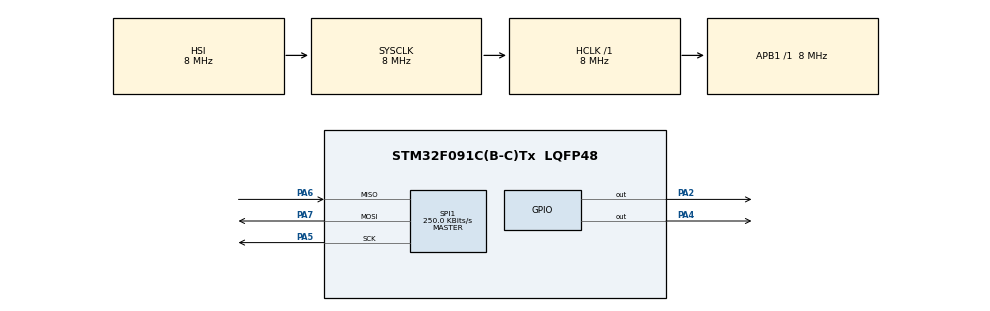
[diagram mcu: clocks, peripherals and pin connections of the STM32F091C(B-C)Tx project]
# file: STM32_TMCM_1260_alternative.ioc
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Mcu.Family=STM32F0
Mcu.Name=STM32F091C(B-C)Tx
Mcu.Package=LQFP48
PA2.Signal=GPIO_Output
PA4.Signal=GPIO_Output
PA5.Mode=Full_Duplex_Master
PA5.Signal=SPI1_SCK
PA6.Mode=Full_Duplex_Master
PA6.Signal=SPI1_MISO
PA7.Mode=Full_Duplex_Master
PA7.Signal=SPI1_MOSI
ProjectManager.HeapSize=0x200
ProjectManager.StackSize=0x400
ProjectManager.TargetToolchain=STM32CubeIDE
RCC.AHBFreq_Value=8000000
RCC.APB1Freq_Value=8000000
RCC.APB1TimFreq_Value=8000000
RCC.HCLKFreq_Value=8000000
RCC.SYSCLKFreq_VALUE=8000000
SPI1.BaudRatePrescaler=SPI_BAUDRATEPRESCALER_32
SPI1.CLKPhase=SPI_PHASE_2EDGE
SPI1.CLKPolarity=SPI_POLARITY_HIGH
SPI1.CalculateBaudRate=250.0 KBits/s
SPI1.DataSize=SPI_DATASIZE_8BIT
SPI1.Direction=SPI_DIRECTION_2LINES
SPI1.Mode=SPI_MODE_MASTER
SPI1.VirtualType=VM_MASTER
board=custom

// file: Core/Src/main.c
/* USER CODE BEGIN Header */
/**
  ******************************************************************************
  * @file           : main.c
  * @brief          : Main program body
  ******************************************************************************
  * @attention
  *
  * Copyright (c) 2026 STMicroelectronics.
  * All rights reserved.
  *
  * This software is licensed under terms that can be found in the LICENSE file
  * in the root directory of this software component.
  * If no LICENSE file comes with this software, it is provided AS-IS.
  *
  ******************************************************************************
  */
/* USER CODE END Header */
#include "main.h"

/* USER CODE BEGIN PD */

// Chip Select pin
#define TMC5160_CS_GPIO_Port GPIOA
#define TMC5160_CS_Pin GPIO_PIN_4
#define DRV_ENN_GPIO_Port GPIOA
#define DRV_ENN_Pin GPIO_PIN_2

#define IHOLD_IRUN_VALUE 0x61005
// IHOLD bits 4...0 (5 = 0101 -> 0x05); IRUN bits 12...8 (16 = 0001 0000; 0x10 << 8 -> 0x1000); IHOLDDELAY bits 19...16 (6 = 0110; 0x06 << 16 -> 0x60000);
// total set bits in 0x10 register: 0x05 + 0x1000 + 0x60000 = 0x61005 = 0110 0001 0000 0000 0101;
// so hex packed of 19 bits are set from LSB side for IHOLD_IRUN (0x10) register;
// with IRUN bits 16 current should be around 2.322 amps w 0.075 sense resistor

// TMC5160 register addresses
#define GCONF       0x00
#define IHOLD_IRUN  0x10
#define RAMPMODE	0x20
#define CHOPCONF    0x6C
#define VSTART      0x23
#define Amax        0x26
#define Dmax        0x28
#define VMAX        0x27
#define XTARGET     0x2D
#define GSTAT		0x01

// just to be sure the default settings are set
#define D1			0x2A
#define VSTOP		0x2B

// TMC5160 register addresses not used now, but could be useful in future
#define X_COMPARE      0x05
#define DRV_CONF       0x0A // 21..20 FILT_ISENSE: Increase setting if motor chopper noise occurs due to cross-coupling of both coils

// Example values for 0X6C: CHOPCONF – CHOPPER CONFIGURATION
#define CHOPCONF_TOFF    3   // off time
#define CHOPCONF_HSTRT   4   // hysteresis start
#define CHOPCONF_HEND    1   // hysteresis end
#define CHOPCONF_TBL     2   // blank time
#define CHOPCONF_MRES    0b0000   // full step (MRES = 0b1000); 0b0000 - 256 microstepping;
// XTARGET = 2000 → exactly 10 full steps × 200 steps/rev; if full step than one rotation is 200 sets x 10 revolutions = 2000 steps;
// 5 rev x 256 microsteps x 200 steps/rev = 256,000
// Lower microsteps (like 4 μsteps) are only useful if you want very small steps in SPI mode, but you must scale XTARGET, VMAX, Amax accordingly.
// Pick MRES = 0b0000 (native 256 μsteps) for smoothest motion
// Or pick 0b1000 = full step if you want exactly 1 step per “full step” in XTARGET units

#define CHOPCONF_INTPOL  0   // interpolation disabled

// Compose CHOPCONF
// This creates one 32-bit number that matches the bit positions defined in the TMC5160 datasheet.
// You have ONE 32-bit value
#define CHOPCONF_VALUE  ( ((CHOPCONF_TOFF  & 0xF) << 0)  \
                        | ((CHOPCONF_HSTRT & 0x7) << 4)  \
                        | ((CHOPCONF_HEND  & 0xF) << 7)  \
                        | ((CHOPCONF_TBL   & 0x3) << 15) \
                        | ((CHOPCONF_MRES  & 0xF) << 24) \
                        | ((CHOPCONF_INTPOL & 0x1) << 28) )

// \ - it tells preprocessor that this macro definition continues on the next line;
// is actually one single expression when the compiler sees it;
// | = bitwise OR; Combines bits from multiple values into a single 32-bit number
// & mask → limit field to allowed bits
// << shift → move the field to its correct bit position

// (CHOPCONF_TOFF & 0xF) << 0 → 0b00000011
// (CHOPCONF_HSTRT & 0x7) << 4 → 0b0100000  (4 << 4 = 64)
// Bitwise OR:
// 0b00000011 | 0b0100000 → 0b0100011 // Combines bits into their proper positions in the 32-bit register value

// Masking with &:
// CHOPCONF_TOFF & 0xF; Ensures only the lowest 4 bits of TOFF are used; Prevents accidental overflow if someone sets TOFF = 20 (0b10100) → keeps it at 0b0100
// for examle CHOPCONF_INTPOL is 1 bit value in that register bit 28, so you mask only 1 bit in that 4 it hex number 0x? (4 bits)
// If a field is 5 bits wide, the mask would be 0x1F in hexadecimal.
// if width would be 5 bits? with 0b10010 value: Valid values: 0 … 0b11111 (decimal 0 … 31), Your value: 0b10010 = decimal 18; fits in 5 bits;
// Mask = 5 ones in binary = 0b11111 = 0x1F; To safely keep only the lowest 5 bits: masked_value = value & 0x1F;
// Masking ensures only allowed bits go into the register, even if user accidentally sets a larger value.

// How the full CHOPCONF_VALUE is built
// 1. Take each field (TOFF, HSTRT, HEND, TBL, MRES, INTPOL); 2. Mask it to the correct number of bits (& 0xF, & 0x7, & 0x3, etc.);
// 3. Shift it into its bit position in the 32-bit CHOPCONF register (<< 0, << 4, << 7, …); 4. Combine all fields using bitwise OR (|) → single 32-bit value

/* USER CODE END PD */

/* USER CODE BEGIN PM */

// Disable driver (let external pull-up do the work), so there is no 5V -> 3V3 feeding
static inline void TMC5160_Disable(void) {
	// Make PA2 input, high-Z
	    GPIO_InitTypeDef GPIO_InitStruct = {0};
	    GPIO_InitStruct.Pin = DRV_ENN_Pin;
	    GPIO_InitStruct.Mode = GPIO_MODE_INPUT;
	    GPIO_InitStruct.Pull = GPIO_NOPULL; // let external pull-up pull it high
	    HAL_GPIO_Init(DRV_ENN_GPIO_Port, &GPIO_InitStruct);
}

// Enable driver (active low)
static inline void TMC5160_Enable(void) {
	// you have to init again as output because in disable function it was made as high z input pin
    GPIO_InitTypeDef GPIO_InitStruct = {0};
    GPIO_InitStruct.Pin = DRV_ENN_Pin;
    GPIO_InitStruct.Mode = GPIO_MODE_OUTPUT_PP;
    GPIO_InitStruct.Pull = GPIO_NOPULL;
    GPIO_InitStruct.Speed = GPIO_SPEED_FREQ_LOW;
    HAL_GPIO_Init(DRV_ENN_GPIO_Port, &GPIO_InitStruct);

    HAL_GPIO_WritePin(DRV_ENN_GPIO_Port, DRV_ENN_Pin, GPIO_PIN_RESET);
    // Keep as output low
}

/* USER CODE END PM */

SPI_HandleTypeDef hspi1;

void SystemClock_Config(void);
static void MX_GPIO_Init(void);
static void MX_SPI1_Init(void);
/* USER CODE BEGIN PFP */

static inline void TMC5160_CS_LOW(void) {
    HAL_GPIO_WritePin(TMC5160_CS_GPIO_Port, TMC5160_CS_Pin, GPIO_PIN_RESET);
}
static inline void TMC5160_CS_HIGH(void) {
    HAL_GPIO_WritePin(TMC5160_CS_GPIO_Port, TMC5160_CS_Pin, GPIO_PIN_SET);
}

void TMC5160_WriteReg(uint8_t address, uint32_t value) {
    uint8_t tx[5];

    // This is NOT re-positioning register fields. This is simply breaking a 32-bit integer into 4 bytes so SPI can send them. SPI sends 8 bits at a time.
    // Your MCU cannot send a 32-bit word directly.
    // So this converts: uint32_t value = 0xAABBCCDD; into: tx[1] = 0xAA; tx[2] = 0xBB; tx[3] = 0xCC; tx[4] = 0xDD
    tx[0] = address | 0x80; // MSB = 1 → WRITE // MSB=0 for write // 8 bits // address + R/W
    tx[1] = (value >> 24) & 0xFF; // 8 bits // data[31:24] // How do we extract bits 31..24? // We move them into the lowest 8-bit position, then mask.
    // This is called byte extraction, not bit manipulation.
    // and shifting is how you extract the correct byte (MSB first) from a 32-bit register value
    // by shifting to the right you get your needed 8 bits in tx byte value;

    tx[2] = (value >> 16) & 0xFF; // 8 bits // data[23:16]
    tx[3] = (value >> 8) & 0xFF; // 8 bits // data[15:8]
    tx[4] = value & 0xFF; // 8 bits // data[7:0] // LSB last out

    TMC5160_CS_LOW();
    HAL_SPI_Transmit(&hspi1, tx, 5, HAL_MAX_DELAY); // sends out from tx[0] to tx [4] (LSB transmitted last as per datasheet)
    TMC5160_CS_HIGH();
}

uint32_t TMC5160_ReadReg(uint8_t address) {
    uint8_t tx[5], rx[5];
    uint32_t ret;

	// When you send a read command, the response from the device comes on the next SPI transfer, not immediately.
    // You pull CS low and send 5 bytes with tx[0] = 0b0AAAAAAA.
    // The chip latches the read address and prepares the data.
    // The first SPI transfer (tx[0..4]) does not return the actual register value — it returns either: old/undefined data from the previous transaction
    // The real register value is returned on the next SPI transfer.
    // That’s why TMC datasheets always show “read requires two transfers”.
    // You need two consecutive SPI transfers: 1. Send read request (address byte, rest 0); 2. Read the data on the next SPI transfer;

    // --- First transfer: send read command --- so the chip prepares the data
    tx[0] = address & 0x7F;  // MSB = 0 → READ;
    tx[1] = tx[2] = tx[3] = tx[4] = 0;
    // read access does not transfer data to the addressed register, but it transfers the address only and its 32 data bits are dummies, and, further the
    // following read or write access delivers back the data read from the address transmitted in the preceding read cycle.
    // For read access, the data bits might have any value (-). So, one can set them to 0.

    TMC5160_CS_LOW();
    HAL_SPI_TransmitReceive(&hspi1, tx, rx, 5, HAL_MAX_DELAY);
    TMC5160_CS_HIGH();

    // --- Second transfer: clock out the data --- send the same read command again to get data out from chip
        tx[0] = 0;  // dummy bytes // no need to input address bc the data now will be given from first transfer
        tx[1] = tx[2] = tx[3] = tx[4] = 0; // dummy data bits

        TMC5160_CS_LOW();
        HAL_SPI_TransmitReceive(&hspi1, tx, rx, 5, HAL_MAX_DELAY);
        TMC5160_CS_HIGH();

    ret = ((uint32_t)rx[1] << 24) | ((uint32_t)rx[2] << 16) | ((uint32_t)rx[3] << 8) | rx[4];
    return ret;
}

void TMC5160_Init(void) {
    //TMC5160_WriteReg(GCONF, 0x00000008); // 0x00000008 -> 0x00, 0x00, 0x00, 0x08 -> 4 bytes -> 32 bits -> 0000 0000 0000 0000 0000 0000 0000 1000

    //uint32_t val = TMC5160_ReadReg(GCONF); // check if all bits where set correctly for debugging mode

    TMC5160_WriteReg(IHOLD_IRUN, IHOLD_IRUN_VALUE);

    uint32_t stat = TMC5160_ReadReg(GSTAT);
    if (stat & 0b111) { // keeps only bits 0, 1, 2, clears the rest to 0;
    	// if one of those 3 bits in stat is set to one then condition is met;
        // some error occurred (reset, SPI error, driver ready)
    	uint32_t val4 = 1; // for debugging mode
    }

    TMC5160_WriteReg(CHOPCONF, CHOPCONF_VALUE);

    uint32_t val3 = TMC5160_ReadReg(CHOPCONF);
    if (val3 != CHOPCONF_VALUE) {
        // write failed, handle error
    	uint32_t val5 = 1; // for debugging mode
    }

    // Set motion mode to positioning
    TMC5160_WriteReg(RAMPMODE, 0); // Motor moves according to position commands (XTARGET) using all motion parameters
    // Set max velocity, acceleration, deceleration
    TMC5160_WriteReg(VSTART, 0x00000000); // VSTART = 0 → motor starts from zero velocity (usually fine).
    TMC5160_WriteReg(Amax, 50000);
    TMC5160_WriteReg(Dmax, 50000);
    TMC5160_WriteReg(D1, 1); // minimal safe deceleration stop velocity
    TMC5160_WriteReg(VSTOP, 10);
    TMC5160_WriteReg(VMAX, 200000);
    // 500 and 50000 are integer literals; In C, integer literals default to type int; The compiler automatically converts int → uint32_t
    // TMC5160_WriteReg(Amax, 500); -> uint32_t value = 500; -> 500 = 0x000001F4 -> tx[1] = 0x00, tx[2] = 0x00, tx[3] = 0x01, tx[4] = 0xF4
    // 500 = 0x000001F4 -> int32 (32 bits or 4 bytes), in hex two numbers represent 8 bits (1 byte)
    // 500 = 0x000001F4 = 0000'0000 0000'0000 0000'0001 1111'0100
    // so 0x000001F4 -> 00 00 01 F4
    // Each register is accessed via 32 data bits even if it uses less than 32 data bits. (from datasheet)
}

/* USER CODE END PFP */

int main(void)
{

  /* MCU Configuration--------------------------------------------------------*/

  /* Reset of all peripherals, Initializes the Flash interface and the Systick. */
  HAL_Init();

  /* Configure the system clock */
  SystemClock_Config();

  /* Initialize all configured peripherals */
  MX_GPIO_Init();
  MX_SPI1_Init();
  /* USER CODE BEGIN 2 */

  TMC5160_CS_HIGH();
  HAL_Delay(10);

  // Driver disabled by default (external pull-up)
  TMC5160_Disable();
  HAL_Delay(10); // let things stabilize

  TMC5160_Init();

  // Enable driver after configuration
  TMC5160_Enable();
  HAL_Delay(30); // small delay to let driver enable
  // Never enable DRV_ENN before configuring registers — can cause motor to jerk with undefined current/microstep.
  // Driver can be disabled any time if you need to stop the motor immediately — the motor will coast.

  // Move 5 revolutions
  TMC5160_WriteReg(XTARGET, 20256000);

  /* USER CODE END 2 */

  /* Infinite loop */
  /* USER CODE BEGIN WHILE */
  while (1)
  {
	  // Wait while motor reaches target
	  uint32_t xactual = TMC5160_ReadReg(0x21); // XACTUAL
	  if (xactual >= 20256000) { // in full steps, so 10 revolutions × 200 steps/rev = 2000 steps
		  uint32_t val1 = 1; // for debugging mode
		  break;
	  }
	  HAL_Delay(10);

    /* USER CODE END WHILE */

    /* USER CODE BEGIN 3 */
  }

  // Motor reached position
  TMC5160_WriteReg(0x21, 0);  // Reset position XACTUAL
  TMC5160_Disable();
  while (1);

  /* USER CODE END 3 */
}

void SystemClock_Config(void)
{
  RCC_OscInitTypeDef RCC_OscInitStruct = {0};
  RCC_ClkInitTypeDef RCC_ClkInitStruct = {0};

  /** Initializes the RCC Oscillators according to the specified parameters
  * in the RCC_OscInitTypeDef structure.
  */
  RCC_OscInitStruct.OscillatorType = RCC_OSCILLATORTYPE_HSI;
  RCC_OscInitStruct.HSIState = RCC_HSI_ON;
  RCC_OscInitStruct.HSICalibrationValue = RCC_HSICALIBRATION_DEFAULT;
  RCC_OscInitStruct.PLL.PLLState = RCC_PLL_NONE;
  if (HAL_RCC_OscConfig(&RCC_OscInitStruct) != HAL_OK)
  {
    Error_Handler();
  }

  /** Initializes the CPU, AHB and APB buses clocks
  */
  RCC_ClkInitStruct.ClockType = RCC_CLOCKTYPE_HCLK|RCC_CLOCKTYPE_SYSCLK
                              |RCC_CLOCKTYPE_PCLK1;
  RCC_ClkInitStruct.SYSCLKSource = RCC_SYSCLKSOURCE_HSI;
  RCC_ClkInitStruct.AHBCLKDivider = RCC_SYSCLK_DIV1;
  RCC_ClkInitStruct.APB1CLKDivider = RCC_HCLK_DIV1;

  if (HAL_RCC_ClockConfig(&RCC_ClkInitStruct, FLASH_LATENCY_0) != HAL_OK)
  {
    Error_Handler();
  }
}

static void MX_SPI1_Init(void)
{

  /* SPI1 parameter configuration*/
  hspi1.Instance = SPI1;
  hspi1.Init.Mode = SPI_MODE_MASTER;
  hspi1.Init.Direction = SPI_DIRECTION_2LINES;
  hspi1.Init.DataSize = SPI_DATASIZE_8BIT;
  hspi1.Init.CLKPolarity = SPI_POLARITY_HIGH;
  hspi1.Init.CLKPhase = SPI_PHASE_2EDGE;
  hspi1.Init.NSS = SPI_NSS_SOFT;
  hspi1.Init.BaudRatePrescaler = SPI_BAUDRATEPRESCALER_32;
  hspi1.Init.FirstBit = SPI_FIRSTBIT_MSB;
  hspi1.Init.TIMode = SPI_TIMODE_DISABLE;
  hspi1.Init.CRCCalculation = SPI_CRCCALCULATION_DISABLE;
  hspi1.Init.CRCPolynomial = 7;
  hspi1.Init.CRCLength = SPI_CRC_LENGTH_DATASIZE;
  hspi1.Init.NSSPMode = SPI_NSS_PULSE_DISABLE;
  if (HAL_SPI_Init(&hspi1) != HAL_OK)
  {
    Error_Handler();
  }

}

static void MX_GPIO_Init(void)
{
  GPIO_InitTypeDef GPIO_InitStruct = {0};

  /* GPIO Ports Clock Enable */
  __HAL_RCC_GPIOA_CLK_ENABLE();

  /*Configure GPIO pin Output Level */
  HAL_GPIO_WritePin(GPIOA, GPIO_PIN_2|GPIO_PIN_4, GPIO_PIN_RESET);

  /*Configure GPIO pins : PA2 PA4 */
  GPIO_InitStruct.Pin = GPIO_PIN_2|GPIO_PIN_4;
  GPIO_InitStruct.Mode = GPIO_MODE_OUTPUT_PP;
  GPIO_InitStruct.Pull = GPIO_NOPULL;
  GPIO_InitStruct.Speed = GPIO_SPEED_FREQ_LOW;
  HAL_GPIO_Init(GPIOA, &GPIO_InitStruct);

}

void Error_Handler(void)
{
  __disable_irq();
  while (1)
  {
  }
}
